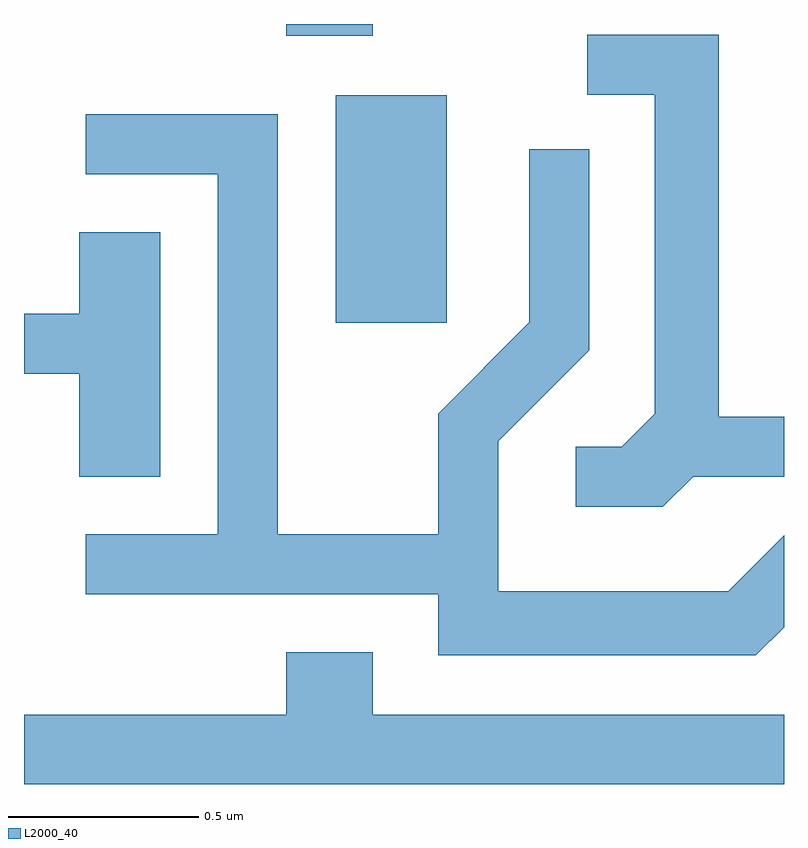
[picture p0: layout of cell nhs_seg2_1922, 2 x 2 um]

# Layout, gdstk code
import gdstk
lib = gdstk.Library(unit=1e-6, precision=1e-09)
def R(c, l, rs):  # rectangles x0, y0, x1, y1
    for r in rs: c.add(gdstk.rectangle(r[:2], r[2:], *l))
def P(c, l, *ps):  # polygons
    for p in ps: c.add(gdstk.Polygon(p, *l))
L2000_40 = (2000, 40)

nhs_seg2_1922 = lib.new_cell('nhs_seg2_1922')
R(nhs_seg2_1922, L2000_40, [(200.431,983.016,200.724,983.614), (200.301,983.771,200.529,983.802)])
P(nhs_seg2_1922, L2000_40, [(201.372,982.611),(201.611,982.611),(201.611,982.769),(201.439,982.769),(201.439,983.774),(201.093,983.774),(201.093,983.616),(201.271,983.616),(201.271,982.777),(201.184,982.689),(201.063,982.689),(201.063,982.531),(201.292,982.531)],
  [(201.611,982.215),(201.611,982.456),(201.464,982.309),(200.859,982.309),(200.859,982.704),(201.099,982.944),(201.099,983.473),(200.941,983.473),(200.941,983.017),(200.701,982.777),(200.701,982.459),(200.279,982.459),(200.279,983.564),(199.773,983.564),(199.773,983.406),(200.121,983.406),(200.121,982.459),(199.773,982.459),(199.773,982.301),(200.701,982.301),(200.701,982.141),(201.537,982.141)],
  [(199.969,983.254),(199.756,983.254),(199.756,983.039),(199.611,983.039),(199.611,982.881),(199.756,982.881),(199.756,982.611),(199.969,982.611)],
  [(201.611,981.984),(200.529,981.984),(200.529,982.149),(200.301,982.149),(200.301,981.984),(199.611,981.984),(199.611,981.802),(201.611,981.802)])

lib.write_gds('nhs_seg2_1922.gds')
